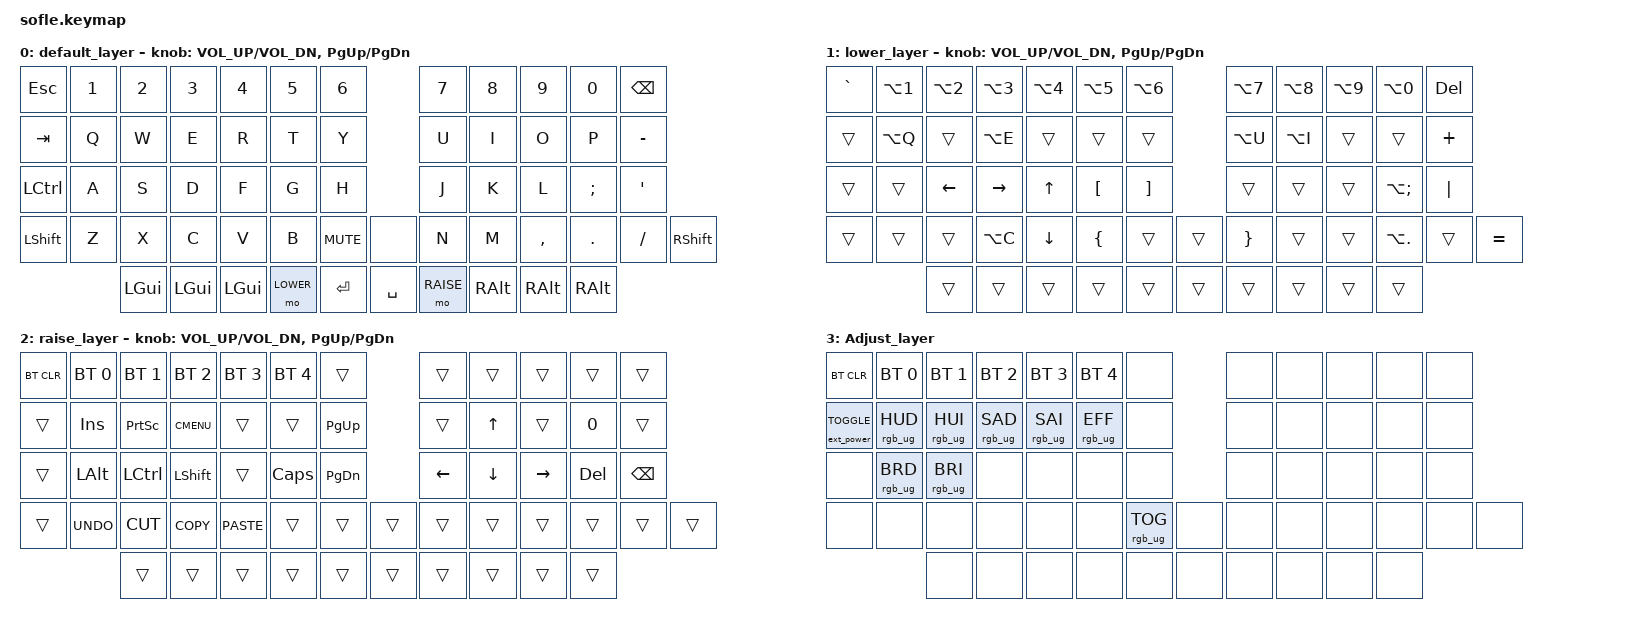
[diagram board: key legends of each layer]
/*
 * Copyright (c) 2020 The ZMK Contributors
 *
 * SPDX-License-Identifier: MIT
 */

#include <behaviors.dtsi>
#include <dt-bindings/zmk/keys.h>
#include <dt-bindings/zmk/bt.h>
#include <dt-bindings/zmk/rgb.h>
#include <dt-bindings/zmk/ext_power.h>

#define BASE 0
#define LOWER 1
#define RAISE 2
#define ADJUST 3

/ {

   // Activate ADJUST layer by pressing raise and lower
    conditional_layers {
        compatible = "zmk,conditional-layers";
        adjust_layer {
            if-layers = <LOWER RAISE>;
            then-layer = <ADJUST>;
        };
    };

    keymap {
        compatible = "zmk,keymap";

//------------------------------------------------------------------------------------------------------------
//| ESC   |  1  |  2  |  3   |  4   |  5   |                   |  6   |  7    |  8    |  9   |   0   | BKSPC |
//| TAB   |  Q  |  W  |  E   |  R   |  T   |                   |  Y   |  U    |  I    |  O   |   P   | MINUS |
//| CTRL  |  A  |  S  |  D   |  F   |  G   |                   |  H   |  J    |  K    |  L   |   ;   |   '   |
//| SHIFT |  Z  |  X  |  C   |  V   |  B   |  MUTE  |  |       |  N   |  M    |  ,    |  .   |   /   | SHIFT |
//              | GUI | GUI  | GUI  | LOWER|  ENTER |  | SPACE | RAISE| ALT  | ALT   | ALT  |
        default_layer {
            bindings = <
&kp ESC   &kp N1 &kp N2   &kp N3   &kp N4   &kp N5     &kp N6                     &kp N7     &kp N8   &kp N9    &kp N0   &kp BSPC
&kp TAB   &kp Q  &kp W    &kp E    &kp R    &kp T      &kp Y                      &kp U      &kp I    &kp O     &kp P    &kp MINUS
&kp LCTRL &kp A  &kp S    &kp D    &kp F    &kp G      &kp H                      &kp J      &kp K    &kp L     &kp SEMI &kp SQT 
&kp LSHFT &kp Z  &kp X    &kp C    &kp V    &kp B      &kp C_MUTE       &none     &kp N      &kp M    &kp COMMA &kp DOT  &kp FSLH &kp RSHFT
                 &kp LGUI &kp LGUI &kp LGUI &mo LOWER  &kp RET          &kp SPACE &mo RAISE  &kp RALT &kp RALT  &kp RALT
            >;

            sensor-bindings = <&inc_dec_kp C_VOL_UP C_VOL_DN &inc_dec_kp PG_UP PG_DN>;
        };

        lower_layer {
// TODO: Some binds are waiting for shifted keycode support.
// ------------------------------------------------------------------------------------------------------------
// | GRAVE  | LA(N1) | LA(N2) | LA(N3) | LA(N4) | LA(N5) |                   | LA(N6) | LA(N7) | LA(N8) | LA(N9)  | LA(N0)   | DEL   |
// | alttab | LA(Q)  |        | LA(E)  |        |        |                   |        | LA(U)  | LA(I)  |         |          | PLUS  |
// |        |        | LEFT   | RIGHT  | UP     | LBKT   |                   | RBKT   |        |        |         | LA(SEMI) | PIPE  |
// |        |        |        | LA(C)  | DOWN   | LBRC   |       |  |        | RBRC   |        |        | LA(DOT) |          | EQUAL |
// |        |        |        |      |        |        |       |  |        |        |       |
            bindings = <
&kp GRAVE   &kp LA(N1) &kp LA(N2) &kp LA(N3) &kp LA(N4) &kp LA(N5)                 &kp LA(N6) &kp LA(N7) &kp LA(N8) &kp LA(N9)  &kp LA(N0)   &kp DEL
&trans      &kp LA(Q)  &trans     &kp LA(E)  &trans     &trans                     &trans     &kp LA(U)  &kp LA(I)  &trans      &trans       &kp PLUS
&trans      &trans     &kp LEFT   &kp RIGHT  &kp UP     &kp LBKT                   &kp RBKT   &trans     &trans     &trans      &kp LA(SEMI) &kp PIPE
&trans      &trans     &trans     &kp LA(C)  &kp DOWN   &kp LBRC  &trans   &trans  &kp RBRC   &trans     &trans     &kp LA(DOT) &trans       &kp EQUAL
                       &trans     &trans     &trans     &trans    &trans   &trans  &trans     &trans     &trans     &trans
            >;

            sensor-bindings = <&inc_dec_kp C_VOL_UP C_VOL_DN &inc_dec_kp PG_UP PG_DN>;
        };

        raise_layer {
// ------------------------------------------------------------------------------------------------------------
// |BTCLR| BT1  | BT2  |  BT3  |  BT4  |  BT5 |                |      |      |       |      |       |       |
// |     | INS  | PSCR | GUI   |       |      |                | PGUP |      |   ^   |      |       |       |
// |     | ALT  | CTRL | SHIFT |       | CAPS |                | PGDN |   <- |   v   |  ->  |  DEL  | BKSPC |
// |     | UNDO | CUT  | COPY  | PASTE |      |      |  |      |      |      |       |      |       |       |
//              |      |       |       |      |      |  |      |      |      |       |      |
            bindings = <
&bt BT_CLR &bt BT_SEL 0 &bt BT_SEL 1 &bt BT_SEL 2 &bt BT_SEL 3 &bt BT_SEL 4             &trans    &trans    &trans   &trans    &trans  &trans
&trans     &kp INS      &kp PSCRN    &kp K_CMENU  &trans       &trans                   &kp PG_UP &trans    &kp UP   &trans    &kp N0  &trans
&trans     &kp LALT     &kp LCTRL    &kp LSHFT    &trans       &kp CLCK                 &kp PG_DN &kp LEFT  &kp DOWN &kp RIGHT &kp DEL &kp BSPC
&trans     &kp K_UNDO   &kp K_CUT    &kp K_COPY   &kp K_PASTE  &trans  &trans   &trans  &trans    &trans    &trans   &trans    &trans  &trans
                        &trans       &trans       &trans       &trans  &trans   &trans  &trans    &trans    &trans   &trans
            >;

            sensor-bindings = <&inc_dec_kp C_VOL_UP C_VOL_DN &inc_dec_kp PG_UP PG_DN>;
        };

// ------------------------------------------------------------------------------------------------------------
// |BTCLR | BT1   | BT2   |  BT3  |  BT4  |  BT5  |                |      |      |       |      |       |       |
// |EXTPWR|RGB_HUD|RGB_HUI|RGB_SAD|RGB_SAI|RGB_EFF|                |      |      |       |      |       |       |
// |      |RGB_BRD|RGB_BRI|       |       |       |                |      |      |       |      |       |       |
// |      |       |       |       |       |       |RGB_TOG| |      |      |      |       |      |       |       |
//                |       |       |       |       |       | |      |      |      |       |      |

        Adjust_layer {
        bindings = <
&bt BT_CLR                      &bt BT_SEL 0    &bt BT_SEL 1    &bt BT_SEL 2    &bt BT_SEL 3    &bt BT_SEL 4                                    &none &none &none &none &none &none
&ext_power EXT_POWER_TOGGLE_CMD &rgb_ug RGB_HUD &rgb_ug RGB_HUI &rgb_ug RGB_SAD &rgb_ug RGB_SAI &rgb_ug RGB_EFF                                 &none &none &none &none &none &none
&none                           &rgb_ug RGB_BRD &rgb_ug RGB_BRI &none           &none           &none                                           &none &none &none &none &none &none
&none                           &none           &none           &none           &none           &none               &rgb_ug RGB_TOG  &none      &none &none &none &none &none &none
                                                &none           &none           &none           &none               &none            &none      &none &none &none &none
        >;
        };

    };
};
